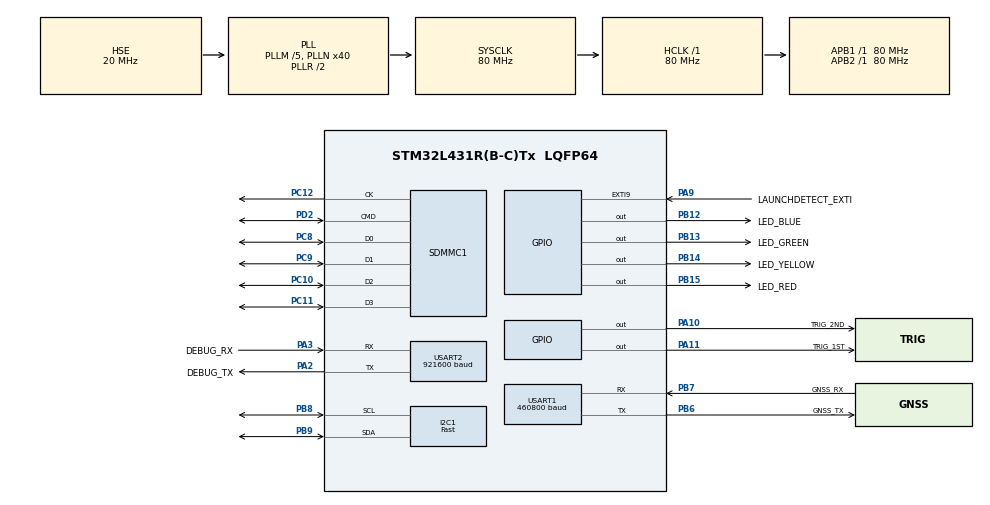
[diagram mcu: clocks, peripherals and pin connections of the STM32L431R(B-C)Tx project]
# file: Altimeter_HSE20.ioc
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Dma.Request0=USART2_TX
Dma.Request1=USART1_RX
Dma.USART1_RX.1.Direction=DMA_PERIPH_TO_MEMORY
Dma.USART1_RX.1.Instance=DMA1_Channel5
Dma.USART1_RX.1.MemDataAlignment=DMA_MDATAALIGN_BYTE
Dma.USART1_RX.1.MemInc=DMA_MINC_ENABLE
Dma.USART1_RX.1.Mode=DMA_CIRCULAR
Dma.USART1_RX.1.PeriphDataAlignment=DMA_PDATAALIGN_BYTE
Dma.USART1_RX.1.PeriphInc=DMA_PINC_DISABLE
Dma.USART1_RX.1.Priority=DMA_PRIORITY_LOW
Dma.USART2_TX.0.Direction=DMA_MEMORY_TO_PERIPH
Dma.USART2_TX.0.Instance=DMA1_Channel7
Dma.USART2_TX.0.MemDataAlignment=DMA_MDATAALIGN_BYTE
Dma.USART2_TX.0.MemInc=DMA_MINC_ENABLE
Dma.USART2_TX.0.Mode=DMA_NORMAL
Dma.USART2_TX.0.PeriphDataAlignment=DMA_PDATAALIGN_BYTE
Dma.USART2_TX.0.PeriphInc=DMA_PINC_DISABLE
Dma.USART2_TX.0.Priority=DMA_PRIORITY_LOW
FATFS.USE_DMA_CODE_SD=0
FATFS._MAX_SS=4096
FATFS._USE_STRFUNC=1
I2C1.I2C_Speed_Mode=I2C_Fast
I2C1.Timing=0x00702991
Mcu.Family=STM32L4
Mcu.Name=STM32L431R(B-C)Tx
Mcu.Package=LQFP64
NVIC.DMA1_Channel5_IRQn=true\:0\:0\:false\:false\:true\:false
NVIC.DMA1_Channel7_IRQn=true\:0\:0\:false\:false\:true\:false
NVIC.EXTI9_5_IRQn=true\:0\:0\:false\:false\:true\:true
NVIC.PriorityGroup=NVIC_PRIORITYGROUP_4
NVIC.TIM1_BRK_TIM15_IRQn=true\:0\:0\:false\:false\:true\:true
NVIC.TIM1_UP_TIM16_IRQn=true\:0\:0\:false\:false\:true\:true
NVIC.TIM6_DAC_IRQn=true\:1\:0\:true\:false\:true\:true
NVIC.USART1_IRQn=true\:0\:0\:false\:false\:true\:true
PA10.GPIO_Label=TRIG_2ND
PA10.Signal=GPIO_Output
PA11.GPIO_Label=TRIG_1ST
PA11.Signal=GPIO_Output
PA2.GPIO_Label=DEBUG_TX
PA2.Mode=Asynchronous
PA2.Signal=USART2_TX
PA3.GPIO_Label=DEBUG_RX
PA3.Mode=Asynchronous
PA3.Signal=USART2_RX
PA9.GPIO_Label=LAUNCHDETECT_EXTI
PA9.Signal=GPXTI9
PB12.GPIO_Label=LED_BLUE
PB12.Signal=GPIO_Output
PB13.GPIO_Label=LED_GREEN
PB13.Signal=GPIO_Output
PB14.GPIO_Label=LED_YELLOW
PB14.Signal=GPIO_Output
PB15.GPIO_Label=LED_RED
PB15.Signal=GPIO_Output
PB6.GPIO_Label=GNSS_TX
PB6.Mode=Asynchronous
PB6.Signal=USART1_TX
PB7.GPIO_Label=GNSS_RX
PB7.Mode=Asynchronous
PB7.Signal=USART1_RX
PB8.Mode=I2C
PB8.Signal=I2C1_SCL
PB9.Mode=I2C
PB9.Signal=I2C1_SDA
PC10.Mode=SD_4_bits_Wide_bus
PC10.Signal=SDMMC1_D2
PC11.Mode=SD_4_bits_Wide_bus
PC11.Signal=SDMMC1_D3
PC12.Mode=SD_4_bits_Wide_bus
PC12.Signal=SDMMC1_CK
PC14-OSC32_IN\ (PC14).Mode=LSE-External-Oscillator
PC14-OSC32_IN\ (PC14).Signal=RCC_OSC32_IN
PC15-OSC32_OUT\ (PC15).Mode=LSE-External-Oscillator
PC15-OSC32_OUT\ (PC15).Signal=RCC_OSC32_OUT
PC8.Mode=SD_4_bits_Wide_bus
PC8.Signal=SDMMC1_D0
PC9.Mode=SD_4_bits_Wide_bus
PC9.Signal=SDMMC1_D1
PD2.Mode=SD_4_bits_Wide_bus
PD2.Signal=SDMMC1_CMD
PH0-OSC_IN\ (PH0).Mode=HSE-External-Oscillator
PH0-OSC_IN\ (PH0).Signal=RCC_OSC_IN
PH1-OSC_OUT\ (PH1).Mode=HSE-External-Oscillator
PH1-OSC_OUT\ (PH1).Signal=RCC_OSC_OUT
ProjectManager.HeapSize=0x2000
ProjectManager.StackSize=0x4000
ProjectManager.TargetToolchain=TrueSTUDIO
RCC.ADCFreq_Value=48000000
RCC.AHBFreq_Value=80000000
RCC.APB1Freq_Value=80000000
RCC.APB1TimFreq_Value=80000000
RCC.APB2Freq_Value=80000000
RCC.APB2TimFreq_Value=80000000
RCC.CortexFreq_Value=80000000
RCC.HCLKFreq_Value=80000000
RCC.HSE_VALUE=20000000
RCC.HSI48_VALUE=48000000
RCC.HSI_VALUE=16000000
RCC.MSI_VALUE=4000000
RCC.PLLM=5
RCC.PLLN=40
RCC.PLLSAI1N=24
RCC.PLLSourceVirtual=RCC_PLLSOURCE_HSE
RCC.RCC_MCO1Source=RCC_MCO1SOURCE_HSE
RCC.SYSCLKFreq_VALUE=80000000
RCC.SYSCLKSource=RCC_SYSCLKSOURCE_PLLCLK
RCC.VCOOutputFreq_Value=160000000
SDMMC1.ClockDiv=2
TIM15.Period=32000
TIM15.Prescaler=39999
TIM16.Period=18000
TIM16.Prescaler=39999
TIM2.Period=4294967295
TIM2.Prescaler=79
TIM6.AutoReloadPreload=TIM_AUTORELOAD_PRELOAD_ENABLE
TIM6.Period=1765
TIM6.Prescaler=19338
USART1.BaudRate=460800
USART1.VirtualMode-Asynchronous=VM_ASYNC
USART1.WordLength=WORDLENGTH_8B
USART2.BaudRate=921600
USART2.VirtualMode-Asynchronous=VM_ASYNC
USART2.WordLength=WORDLENGTH_8B
VP_FATFS_VS_SDIO.Mode=SDIO
VP_TIM15_VS_ClockSourceINT.Mode=Internal
VP_TIM16_VS_ClockSourceINT.Mode=Enable_Timer
VP_TIM2_VS_ClockSourceINT.Mode=Internal
VP_TIM6_VS_ClockSourceINT.Mode=Enable_Timer
board=Altimeter_HSE20

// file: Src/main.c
/**
  ******************************************************************************
  * @file           : main.c
  * @brief          : Main program body
  ******************************************************************************
  * This notice applies to any and all portions of this file
  * that are not between comment pairs USER CODE BEGIN and
  * USER CODE END. Other portions of this file, whether
  * inserted by the user or by software development tools
  * are owned by their respective copyright owners.
  *
  * Copyright (c) 2019 STMicroelectronics International N.V.
  * All rights reserved.
  *
  * Redistribution and use in source and binary forms, with or without
  * modification, are permitted, provided that the following conditions are met:
  *
  * 1. Redistribution of source code must retain the above copyright notice,
  *    this list of conditions and the following disclaimer.
  * 2. Redistributions in binary form must reproduce the above copyright notice,
  *    this list of conditions and the following disclaimer in the documentation
  *    and/or other materials provided with the distribution.
  * 3. Neither the name of STMicroelectronics nor the names of other
  *    contributors to this software may be used to endorse or promote products
  *    derived from this software without specific written permission.
  * 4. This software, including modifications and/or derivative works of this
  *    software, must execute solely and exclusively on microcontroller or
  *    microprocessor devices manufactured by or for STMicroelectronics.
  * 5. Redistribution and use of this software other than as permitted under
  *    this license is void and will automatically terminate your rights under
  *    this license.
  *
  * THIS SOFTWARE IS PROVIDED BY STMICROELECTRONICS AND CONTRIBUTORS "AS IS"
  * AND ANY EXPRESS, IMPLIED OR STATUTORY WARRANTIES, INCLUDING, BUT NOT
  * LIMITED TO, THE IMPLIED WARRANTIES OF MERCHANTABILITY, FITNESS FOR A
  * PARTICULAR PURPOSE AND NON-INFRINGEMENT OF THIRD PARTY INTELLECTUAL PROPERTY
  * RIGHTS ARE DISCLAIMED TO THE FULLEST EXTENT PERMITTED BY LAW. IN NO EVENT
  * SHALL STMICROELECTRONICS OR CONTRIBUTORS BE LIABLE FOR ANY DIRECT, INDIRECT,
  * INCIDENTAL, SPECIAL, EXEMPLARY, OR CONSEQUENTIAL DAMAGES (INCLUDING, BUT NOT
  * LIMITED TO, PROCUREMENT OF SUBSTITUTE GOODS OR SERVICES; LOSS OF USE, DATA,
  * OR PROFITS; OR BUSINESS INTERRUPTION) HOWEVER CAUSED AND ON ANY THEORY OF
  * LIABILITY, WHETHER IN CONTRACT, STRICT LIABILITY, OR TORT (INCLUDING
  * NEGLIGENCE OR OTHERWISE) ARISING IN ANY WAY OUT OF THE USE OF THIS SOFTWARE,
  * EVEN IF ADVISED OF THE POSSIBILITY OF SUCH DAMAGE.
  *
  ******************************************************************************
  */
#include "main.h"
#include "stm32l4xx_hal.h"
#include "fatfs.h"

/* USER CODE BEGIN Includes */
#include "rocket.h"
#include "LPS22HB.h"
#include "uart_rx_dma.h"
#include "../uart_wrapper/uart_wrapper.h"
#include <string.h>
/* USER CODE END Includes */

I2C_HandleTypeDef hi2c1;

SD_HandleTypeDef hsd1;

TIM_HandleTypeDef htim2;
TIM_HandleTypeDef htim6;
TIM_HandleTypeDef htim15;
TIM_HandleTypeDef htim16;

UART_HandleTypeDef huart1;
UART_HandleTypeDef huart2;
DMA_HandleTypeDef hdma_usart1_rx;
DMA_HandleTypeDef hdma_usart2_tx;

/* USER CODE BEGIN PV */
/* Private variables ---------------------------------------------------------*/
FATFS fatfs;
FIL file_Sys;
FIL file_Baro;
//FIL file_GNSS;

char logdir_Sys[20] = "SYSLOG.TXT";
char logdir_Baro[20] = "BAROLOG.CSV";
//char logdir_GNSS[20] = "GNSSLOG.CSV";

LPS22HB_t lps22hb;

uint8_t isLogBufferEmpty = 1;
/* USER CODE END PV */

void SystemClock_Config(void);
static void MX_GPIO_Init(void);
static void MX_DMA_Init(void);
static void MX_I2C1_Init(void);
static void MX_SDMMC1_SD_Init(void);
static void MX_USART1_UART_Init(void);
static void MX_USART2_UART_Init(void);
static void MX_TIM2_Init(void);
static void MX_TIM6_Init(void);
static void MX_TIM16_Init(void);
static void MX_TIM15_Init(void);

/* USER CODE BEGIN PFP */
/* Private function prototypes -----------------------------------------------*/
void System_Init(void);
void System_Config_FileDirectory(void);
int System_Check_BootCount(void);
void Inst_Log_Barometer(Rocket_Info_t* info);
//void Inst_Log_GNSS(void);
void LED_Flash_OnePulse(GPIO_TypeDef* port, uint16_t pin, uint16_t span_ms);

/* USER CODE END PFP */

/* USER CODE BEGIN 0 */

Rocket_Info_t rocket_info;

/*typedef struct {
	uint32_t tim;
	uint32_t press;
	int16_t temp;
} EnvData_Container_t;

typedef struct {
	EnvData_Container_t envdata[32];
} EnvData_DataSet_t;

typedef struct {
	EnvData_DataSet_t packet[4];
	bool isLaunched = false;
	bool isDeployAllowed = false;
	bool isReachedApogee = false;
	bool isDeployTimerElapsed = false;
	bool initiateDeploy = false;
} Rocket_Info_t;

Rocket_Info_t rocket_info;

void Rocket_UpdateStatus_Launched(Rocket_Info_t info);
void Rocket_UpdateStatus_AllowDeploy(Rocket_Info_t info);
void Rocket_UpdateStatus_ReachedApogee(Rocket_Info_t info);
void Rocket_UpdateStatus_DeployTimerElapsed(Rocket_Info_t info);

*/

/* USER CODE END 0 */

int main(void)
{

  /* MCU Configuration----------------------------------------------------------*/

  /* Reset of all peripherals, Initializes the Flash interface and the Systick. */
  HAL_Init();

  /* Configure the system clock */
  SystemClock_Config();

  /* Initialize all configured peripherals */
  MX_GPIO_Init();
  MX_DMA_Init();
  MX_I2C1_Init();
  MX_SDMMC1_SD_Init();
  MX_USART1_UART_Init();
  MX_USART2_UART_Init();
  MX_FATFS_Init();
  MX_TIM2_Init();
  MX_TIM6_Init();
  MX_TIM16_Init();
  MX_TIM15_Init();
  /* USER CODE BEGIN 2 */

  System_Init();

  //char buff[32];

  /* USER CODE END 2 */

  /* Infinite loop */
  while (1)
  {

  /* USER CODE BEGIN 3 */

	  Rocket_Evaluate_AbleToDeploy_1stStage(&rocket_info);
	  if(Rocket_isAbleToDeploy_1stStage(&rocket_info) == ROCKET_ABLETODEPLOY_1STSTAGE) {
		  PIN_H(TRIG_1ST_GPIO_Port, TRIG_1ST_Pin);
		  PIN_H(LED_GREEN_GPIO_Port, LED_GREEN_Pin);

		  Rocket_Evaluate_AbleToDeploy_2ndStage(&rocket_info);
		  if(Rocket_isAbleToDeploy_2ndStage(&rocket_info) == ROCKET_ABLETODEPLOY_2NDSTAGE) {
			  PIN_H(TRIG_2ND_GPIO_Port, TRIG_2ND_Pin);
			  PIN_H(LED_YELLOW_GPIO_Port, LED_YELLOW_Pin);
		  } else {
			  PIN_L(TRIG_2ND_GPIO_Port, TRIG_2ND_Pin);
			  PIN_L(LED_YELLOW_GPIO_Port, LED_YELLOW_Pin);
		  }
	  } else {
		  PIN_L(TRIG_1ST_GPIO_Port, TRIG_1ST_Pin);
		  PIN_L(LED_GREEN_GPIO_Port, LED_GREEN_Pin);
	  }

	  //TODO　whileループ内のログの処理どうしよう
	  //→判定関数内でやればよいのでは
  }
  /* USER CODE END 3 */

}

void SystemClock_Config(void)
{

  RCC_OscInitTypeDef RCC_OscInitStruct;
  RCC_ClkInitTypeDef RCC_ClkInitStruct;
  RCC_PeriphCLKInitTypeDef PeriphClkInit;

    /**Initializes the CPU, AHB and APB busses clocks
    */
  RCC_OscInitStruct.OscillatorType = RCC_OSCILLATORTYPE_HSE;
  RCC_OscInitStruct.HSEState = RCC_HSE_ON;
  RCC_OscInitStruct.PLL.PLLState = RCC_PLL_ON;
  RCC_OscInitStruct.PLL.PLLSource = RCC_PLLSOURCE_HSE;
  RCC_OscInitStruct.PLL.PLLM = 5;
  RCC_OscInitStruct.PLL.PLLN = 40;
  RCC_OscInitStruct.PLL.PLLP = RCC_PLLP_DIV7;
  RCC_OscInitStruct.PLL.PLLQ = RCC_PLLQ_DIV2;
  RCC_OscInitStruct.PLL.PLLR = RCC_PLLR_DIV2;
  if (HAL_RCC_OscConfig(&RCC_OscInitStruct) != HAL_OK)
  {
    _Error_Handler(__FILE__, __LINE__);
  }

    /**Initializes the CPU, AHB and APB busses clocks
    */
  RCC_ClkInitStruct.ClockType = RCC_CLOCKTYPE_HCLK|RCC_CLOCKTYPE_SYSCLK
                              |RCC_CLOCKTYPE_PCLK1|RCC_CLOCKTYPE_PCLK2;
  RCC_ClkInitStruct.SYSCLKSource = RCC_SYSCLKSOURCE_PLLCLK;
  RCC_ClkInitStruct.AHBCLKDivider = RCC_SYSCLK_DIV1;
  RCC_ClkInitStruct.APB1CLKDivider = RCC_HCLK_DIV1;
  RCC_ClkInitStruct.APB2CLKDivider = RCC_HCLK_DIV1;

  if (HAL_RCC_ClockConfig(&RCC_ClkInitStruct, FLASH_LATENCY_4) != HAL_OK)
  {
    _Error_Handler(__FILE__, __LINE__);
  }

  PeriphClkInit.PeriphClockSelection = RCC_PERIPHCLK_USART1|RCC_PERIPHCLK_USART2
                              |RCC_PERIPHCLK_I2C1|RCC_PERIPHCLK_SDMMC1;
  PeriphClkInit.Usart1ClockSelection = RCC_USART1CLKSOURCE_PCLK2;
  PeriphClkInit.Usart2ClockSelection = RCC_USART2CLKSOURCE_PCLK1;
  PeriphClkInit.I2c1ClockSelection = RCC_I2C1CLKSOURCE_PCLK1;
  PeriphClkInit.Sdmmc1ClockSelection = RCC_SDMMC1CLKSOURCE_PLLSAI1;
  PeriphClkInit.PLLSAI1.PLLSAI1Source = RCC_PLLSOURCE_HSE;
  PeriphClkInit.PLLSAI1.PLLSAI1M = 5;
  PeriphClkInit.PLLSAI1.PLLSAI1N = 24;
  PeriphClkInit.PLLSAI1.PLLSAI1P = RCC_PLLP_DIV7;
  PeriphClkInit.PLLSAI1.PLLSAI1Q = RCC_PLLQ_DIV2;
  PeriphClkInit.PLLSAI1.PLLSAI1R = RCC_PLLR_DIV2;
  PeriphClkInit.PLLSAI1.PLLSAI1ClockOut = RCC_PLLSAI1_48M2CLK;
  if (HAL_RCCEx_PeriphCLKConfig(&PeriphClkInit) != HAL_OK)
  {
    _Error_Handler(__FILE__, __LINE__);
  }

    /**Configure the main internal regulator output voltage
    */
  if (HAL_PWREx_ControlVoltageScaling(PWR_REGULATOR_VOLTAGE_SCALE1) != HAL_OK)
  {
    _Error_Handler(__FILE__, __LINE__);
  }

    /**Configure the Systick interrupt time
    */
  HAL_SYSTICK_Config(HAL_RCC_GetHCLKFreq()/1000);

    /**Configure the Systick
    */
  HAL_SYSTICK_CLKSourceConfig(SYSTICK_CLKSOURCE_HCLK);

  /* SysTick_IRQn interrupt configuration */
  HAL_NVIC_SetPriority(SysTick_IRQn, 0, 0);
}

/* I2C1 init function */
static void MX_I2C1_Init(void)
{

  hi2c1.Instance = I2C1;
  hi2c1.Init.Timing = 0x00702991;
  hi2c1.Init.OwnAddress1 = 0;
  hi2c1.Init.AddressingMode = I2C_ADDRESSINGMODE_7BIT;
  hi2c1.Init.DualAddressMode = I2C_DUALADDRESS_DISABLE;
  hi2c1.Init.OwnAddress2 = 0;
  hi2c1.Init.OwnAddress2Masks = I2C_OA2_NOMASK;
  hi2c1.Init.GeneralCallMode = I2C_GENERALCALL_DISABLE;
  hi2c1.Init.NoStretchMode = I2C_NOSTRETCH_DISABLE;
  if (HAL_I2C_Init(&hi2c1) != HAL_OK)
  {
    _Error_Handler(__FILE__, __LINE__);
  }

    /**Configure Analogue filter
    */
  if (HAL_I2CEx_ConfigAnalogFilter(&hi2c1, I2C_ANALOGFILTER_ENABLE) != HAL_OK)
  {
    _Error_Handler(__FILE__, __LINE__);
  }

    /**Configure Digital filter
    */
  if (HAL_I2CEx_ConfigDigitalFilter(&hi2c1, 0) != HAL_OK)
  {
    _Error_Handler(__FILE__, __LINE__);
  }

}

/* SDMMC1 init function */
static void MX_SDMMC1_SD_Init(void)
{

  hsd1.Instance = SDMMC1;
  hsd1.Init.ClockEdge = SDMMC_CLOCK_EDGE_RISING;
  hsd1.Init.ClockBypass = SDMMC_CLOCK_BYPASS_DISABLE;
  hsd1.Init.ClockPowerSave = SDMMC_CLOCK_POWER_SAVE_DISABLE;
  hsd1.Init.BusWide = SDMMC_BUS_WIDE_1B;
  hsd1.Init.HardwareFlowControl = SDMMC_HARDWARE_FLOW_CONTROL_DISABLE;
  hsd1.Init.ClockDiv = 2;

}

/* TIM2 init function */
static void MX_TIM2_Init(void)
{

  TIM_ClockConfigTypeDef sClockSourceConfig;
  TIM_MasterConfigTypeDef sMasterConfig;

  htim2.Instance = TIM2;
  htim2.Init.Prescaler = 79;
  htim2.Init.CounterMode = TIM_COUNTERMODE_UP;
  htim2.Init.Period = 4294967295;
  htim2.Init.ClockDivision = TIM_CLOCKDIVISION_DIV1;
  htim2.Init.AutoReloadPreload = TIM_AUTORELOAD_PRELOAD_DISABLE;
  if (HAL_TIM_Base_Init(&htim2) != HAL_OK)
  {
    _Error_Handler(__FILE__, __LINE__);
  }

  sClockSourceConfig.ClockSource = TIM_CLOCKSOURCE_INTERNAL;
  if (HAL_TIM_ConfigClockSource(&htim2, &sClockSourceConfig) != HAL_OK)
  {
    _Error_Handler(__FILE__, __LINE__);
  }

  sMasterConfig.MasterOutputTrigger = TIM_TRGO_RESET;
  sMasterConfig.MasterSlaveMode = TIM_MASTERSLAVEMODE_DISABLE;
  if (HAL_TIMEx_MasterConfigSynchronization(&htim2, &sMasterConfig) != HAL_OK)
  {
    _Error_Handler(__FILE__, __LINE__);
  }

}

/* TIM6 init function */
static void MX_TIM6_Init(void)
{

  TIM_MasterConfigTypeDef sMasterConfig;

  htim6.Instance = TIM6;
  htim6.Init.Prescaler = 19338;
  htim6.Init.CounterMode = TIM_COUNTERMODE_UP;
  htim6.Init.Period = 1765;
  htim6.Init.AutoReloadPreload = TIM_AUTORELOAD_PRELOAD_ENABLE;
  if (HAL_TIM_Base_Init(&htim6) != HAL_OK)
  {
    _Error_Handler(__FILE__, __LINE__);
  }

  sMasterConfig.MasterOutputTrigger = TIM_TRGO_RESET;
  sMasterConfig.MasterSlaveMode = TIM_MASTERSLAVEMODE_DISABLE;
  if (HAL_TIMEx_MasterConfigSynchronization(&htim6, &sMasterConfig) != HAL_OK)
  {
    _Error_Handler(__FILE__, __LINE__);
  }

}

/* TIM15 init function */
static void MX_TIM15_Init(void)
{

  TIM_ClockConfigTypeDef sClockSourceConfig;
  TIM_MasterConfigTypeDef sMasterConfig;

  htim15.Instance = TIM15;
  htim15.Init.Prescaler = 39999;
  htim15.Init.CounterMode = TIM_COUNTERMODE_UP;
  htim15.Init.Period = 32000;
  htim15.Init.ClockDivision = TIM_CLOCKDIVISION_DIV1;
  htim15.Init.RepetitionCounter = 0;
  htim15.Init.AutoReloadPreload = TIM_AUTORELOAD_PRELOAD_DISABLE;
  if (HAL_TIM_Base_Init(&htim15) != HAL_OK)
  {
    _Error_Handler(__FILE__, __LINE__);
  }

  sClockSourceConfig.ClockSource = TIM_CLOCKSOURCE_INTERNAL;
  if (HAL_TIM_ConfigClockSource(&htim15, &sClockSourceConfig) != HAL_OK)
  {
    _Error_Handler(__FILE__, __LINE__);
  }

  sMasterConfig.MasterOutputTrigger = TIM_TRGO_RESET;
  sMasterConfig.MasterSlaveMode = TIM_MASTERSLAVEMODE_DISABLE;
  if (HAL_TIMEx_MasterConfigSynchronization(&htim15, &sMasterConfig) != HAL_OK)
  {
    _Error_Handler(__FILE__, __LINE__);
  }

}

/* TIM16 init function */
static void MX_TIM16_Init(void)
{

  htim16.Instance = TIM16;
  htim16.Init.Prescaler = 39999;
  htim16.Init.CounterMode = TIM_COUNTERMODE_UP;
  htim16.Init.Period = 18000;
  htim16.Init.ClockDivision = TIM_CLOCKDIVISION_DIV1;
  htim16.Init.RepetitionCounter = 0;
  htim16.Init.AutoReloadPreload = TIM_AUTORELOAD_PRELOAD_DISABLE;
  if (HAL_TIM_Base_Init(&htim16) != HAL_OK)
  {
    _Error_Handler(__FILE__, __LINE__);
  }

}

/* USART1 init function */
static void MX_USART1_UART_Init(void)
{

  huart1.Instance = USART1;
  huart1.Init.BaudRate = 460800;
  huart1.Init.WordLength = UART_WORDLENGTH_8B;
  huart1.Init.StopBits = UART_STOPBITS_1;
  huart1.Init.Parity = UART_PARITY_NONE;
  huart1.Init.Mode = UART_MODE_TX_RX;
  huart1.Init.HwFlowCtl = UART_HWCONTROL_NONE;
  huart1.Init.OverSampling = UART_OVERSAMPLING_16;
  huart1.Init.OneBitSampling = UART_ONE_BIT_SAMPLE_DISABLE;
  huart1.AdvancedInit.AdvFeatureInit = UART_ADVFEATURE_NO_INIT;
  if (HAL_UART_Init(&huart1) != HAL_OK)
  {
    _Error_Handler(__FILE__, __LINE__);
  }

}

/* USART2 init function */
static void MX_USART2_UART_Init(void)
{

  huart2.Instance = USART2;
  huart2.Init.BaudRate = 921600;
  huart2.Init.WordLength = UART_WORDLENGTH_8B;
  huart2.Init.StopBits = UART_STOPBITS_1;
  huart2.Init.Parity = UART_PARITY_NONE;
  huart2.Init.Mode = UART_MODE_TX_RX;
  huart2.Init.HwFlowCtl = UART_HWCONTROL_NONE;
  huart2.Init.OverSampling = UART_OVERSAMPLING_16;
  huart2.Init.OneBitSampling = UART_ONE_BIT_SAMPLE_DISABLE;
  huart2.AdvancedInit.AdvFeatureInit = UART_ADVFEATURE_NO_INIT;
  if (HAL_UART_Init(&huart2) != HAL_OK)
  {
    _Error_Handler(__FILE__, __LINE__);
  }

}

static void MX_DMA_Init(void)
{
  /* DMA controller clock enable */
  __HAL_RCC_DMA1_CLK_ENABLE();

  /* DMA interrupt init */
  /* DMA1_Channel5_IRQn interrupt configuration */
  HAL_NVIC_SetPriority(DMA1_Channel5_IRQn, 0, 0);
  HAL_NVIC_EnableIRQ(DMA1_Channel5_IRQn);
  /* DMA1_Channel7_IRQn interrupt configuration */
  HAL_NVIC_SetPriority(DMA1_Channel7_IRQn, 0, 0);
  HAL_NVIC_EnableIRQ(DMA1_Channel7_IRQn);

}

/** Configure pins as
        * Analog
        * Input
        * Output
        * EVENT_OUT
        * EXTI
*/
static void MX_GPIO_Init(void)
{

  GPIO_InitTypeDef GPIO_InitStruct;

  /* GPIO Ports Clock Enable */
  __HAL_RCC_GPIOC_CLK_ENABLE();
  __HAL_RCC_GPIOH_CLK_ENABLE();
  __HAL_RCC_GPIOA_CLK_ENABLE();
  __HAL_RCC_GPIOB_CLK_ENABLE();
  __HAL_RCC_GPIOD_CLK_ENABLE();

  /*Configure GPIO pin Output Level */
  HAL_GPIO_WritePin(GPIOB, LED_BLUE_Pin|LED_GREEN_Pin|LED_YELLOW_Pin|LED_RED_Pin, GPIO_PIN_RESET);

  /*Configure GPIO pin Output Level */
  HAL_GPIO_WritePin(GPIOA, TRIG_2ND_Pin|TRIG_1ST_Pin, GPIO_PIN_RESET);

  /*Configure GPIO pins : LED_BLUE_Pin LED_GREEN_Pin LED_YELLOW_Pin LED_RED_Pin */
  GPIO_InitStruct.Pin = LED_BLUE_Pin|LED_GREEN_Pin|LED_YELLOW_Pin|LED_RED_Pin;
  GPIO_InitStruct.Mode = GPIO_MODE_OUTPUT_PP;
  GPIO_InitStruct.Pull = GPIO_NOPULL;
  GPIO_InitStruct.Speed = GPIO_SPEED_FREQ_LOW;
  HAL_GPIO_Init(GPIOB, &GPIO_InitStruct);

  /*Configure GPIO pin : LAUNCHDETECT_EXTI_Pin */
  GPIO_InitStruct.Pin = LAUNCHDETECT_EXTI_Pin;
  GPIO_InitStruct.Mode = GPIO_MODE_IT_RISING;
  GPIO_InitStruct.Pull = GPIO_NOPULL;
  HAL_GPIO_Init(LAUNCHDETECT_EXTI_GPIO_Port, &GPIO_InitStruct);

  /*Configure GPIO pins : TRIG_2ND_Pin TRIG_1ST_Pin */
  GPIO_InitStruct.Pin = TRIG_2ND_Pin|TRIG_1ST_Pin;
  GPIO_InitStruct.Mode = GPIO_MODE_OUTPUT_PP;
  GPIO_InitStruct.Pull = GPIO_NOPULL;
  GPIO_InitStruct.Speed = GPIO_SPEED_FREQ_LOW;
  HAL_GPIO_Init(GPIOA, &GPIO_InitStruct);

  /* EXTI interrupt init*/
  HAL_NVIC_SetPriority(EXTI9_5_IRQn, 0, 0);
  HAL_NVIC_EnableIRQ(EXTI9_5_IRQn);

}

/* USER CODE BEGIN 4 */

void System_Init(void) {
	FRESULT fRes;

	//	start timer for time record
	HAL_TIM_Base_Start(&htim2);

	uart_init(&huart2);

	Rocket_Init(&rocket_info);

	//	initialize LPS22HB
	LPS22HB_Set_Handle(&lps22hb, &hi2c1);
	LPS22HB_Set_Address(&lps22hb, LPS22HB_ADDR_L);
	LPS22HB_Init(&lps22hb, LPS22HB_ODR_75HZ);
	LPS22HB_Set_FIFO(&lps22hb, LPS22HB_FIFO_ENABLE, LPS22HB_FIFOMODE_STREAM);

	//	mount sd card
	fRes = f_mount(&fatfs, SDPath, 1);
	if(fRes == FR_OK) {
		//	ok
		LED_Flash_OnePulse(LED_BLUE_GPIO_Port, LED_BLUE_Pin, 500);
		xprintf("[FatFs] mount succees\r\n");
	} else {
		//	fail → reset
		LED_Flash_OnePulse(LED_RED_GPIO_Port, LED_RED_Pin, 500);
		xprintf("[FatFs] mount failure\r\n");
		NVIC_SystemReset();
	}

	//	Configure log file directory
	System_Config_FileDirectory();

	//	open file for systemlog
	fRes = f_open(&file_Sys, logdir_Sys, FA_OPEN_APPEND | FA_WRITE);
	if(fRes == FR_OK) {
		//	ok
		LED_Flash_OnePulse(LED_GREEN_GPIO_Port, LED_GREEN_Pin, 500);
		xprintf("[FatFs] syslog fopen succees\r\n");
	} else {
		//	fail → reset
		LED_Flash_OnePulse(LED_RED_GPIO_Port, LED_RED_Pin, 500);
		xprintf("[FatFs] syslog fopen failure\r\n");
		NVIC_SystemReset();
	}

	//	open file for baro/temp logging
	fRes = f_open(&file_Baro, logdir_Baro, FA_OPEN_APPEND | FA_WRITE);
	if(fRes == FR_OK) {
		//	ok
		LED_Flash_OnePulse(LED_GREEN_GPIO_Port, LED_GREEN_Pin, 500);
		xprintf("[FatFs] baro fopen succees\r\n");
	} else {
		//	fail → reset
		LED_Flash_OnePulse(LED_RED_GPIO_Port, LED_RED_Pin, 500);
		xprintf("[FatFs] baro fopen failure\r\n");
		NVIC_SystemReset();
	}

	/*/	open file for gnss logging
	fRes = f_open(&file_GNSS, logdir_GNSS, FA_OPEN_APPEND | FA_WRITE);
	if(fRes == FR_OK) {
		//	ok
		LED_Flash_OnePulse(LED_GREEN_GPIO_Port, LED_GREEN_Pin, 500);
		xprintf("[FatFs] gnss fopen succees\r\n");
	} else {
		//	fail → reset
		LED_Flash_OnePulse(LED_RED_GPIO_Port, LED_RED_Pin, 500);
		xprintf("[FatFs] gnss fopen failure\r\n");
		NVIC_SystemReset();
	}*/

	/* These uart interrupts halt any ongoing transfer if an error occurs, disable them */
	/* Disable the UART Parity Error Interrupt */
	__HAL_UART_DISABLE_IT(&huart1, UART_IT_PE);
	/* Disable the UART Error Interrupt: (Frame error, noise error, overrun error) */
	__HAL_UART_DISABLE_IT(&huart1, UART_IT_ERR);

	//	uart rx dma config
	msgrx_init(&huart1);

	//	start interrupt timer for reading barometer
	__HAL_TIM_CLEAR_FLAG(&htim6, TIM_FLAG_UPDATE);
	HAL_TIM_Base_Start_IT(&htim6);
	//	for only gnss (not for use now)
	//HAL_TIM_Base_Start_IT(&htim7);

}

void System_Config_FileDirectory(void)
{
	int bootcount;
	char logdir[8];

	bootcount = System_Check_BootCount();
	if ( bootcount < 0 ) {
		xprintf("[LogSys]bootcount check failure!\r\n");

		sprintf(logdir, "LOG");
		xprintf("[LogSys]log directory was set to \"LOG\" \r\n");
	} else {
		xprintf("[LogSys]bootcount is %d\r\n", bootcount);

		sprintf(logdir, "LOG_%03d", bootcount);
		xprintf("[LogSys]log directory was set to \"LOG_%03d\"\r\n", bootcount);
	}

	f_mkdir(logdir);

	sprintf(logdir_Sys, "LOG_%03d/SYSLOG.TXT", bootcount);
	sprintf(logdir_Baro, "LOG_%03d/BAROLOG.CSV", bootcount);
	//sprintf(logdir_GNSS, "LOG_%03d/GNSSLOG.CSV", bootcount);
}

/**
 * 	Check system boot count from config file in sdcard
 */
int System_Check_BootCount(void)
{
    FIL fileRead;
    FIL fileWrite;
    FRESULT res;

    char buff[3] = {};
    int bootcount = 0;

    res = f_open(&fileRead, "CONFIG/BOOTCNT.TXT", FA_READ );
    if ( FR_OK != res ) {

    	//	nothing file
    	res = f_mkdir("CONFIG");

    	if ( FR_OK == res || FR_EXIST == res ) {

        	//	completed make the directory or exist
        	res = f_open(&fileWrite, "CONFIG/BOOTCNT.TXT", FA_CREATE_ALWAYS | FA_WRITE );

        	if ( FR_OK != res ) {

        		//	failed to make file
        		xprintf("filesystem error!\r\n");

            	return -1;
        	} else {

        		//	succeed to make file
        		f_printf(&fileWrite, "%d", bootcount);  //  bootcount = 0
        	}
        }
    } else {

    	//	"BOOTCNT.TXT" file exist
        f_gets((TCHAR *)buff, 4	, &fileRead);
        bootcount = atoi(buff);
        bootcount++;

        f_close(&fileRead);

        res = f_open(&fileWrite, "CONFIG/BOOTCNT.TXT", FA_CREATE_ALWAYS | FA_WRITE );
    }

    f_printf(&fileWrite, "%d", bootcount);
    f_close(&fileWrite);

    return bootcount;
}

void HAL_GPIO_EXTI_Callback(uint16_t GPIO_Pin) {

	//	打ち上げ検知時動作
	if(GPIO_Pin == LAUNCHDETECT_EXTI_Pin) {

		//	立ち上がり一回のみ検知、チャタリングで複数回割り込みするのを防ぐ
		if(Rocket_isLaunched(&rocket_info) == ROCKET_FALSE) {
			//	フラグ更新→打ち上げした
			Rocket_UpdateStatus_Launched(&rocket_info);

			Rocket_EnvData_SetGroundEnvDataSet(&rocket_info, Rocket_EnvData_GetEnvDataSet(&rocket_info, 3));

			//ログ
			char buff[32];
			sprintf(buff, "%lu [flag] Launched\r\n", TIM2->CNT);
			xputs(buff);
			f_puts(buff, &file_Sys);
			isLogBufferEmpty = 0;

			//	開放タイマースタート
			__HAL_TIM_CLEAR_FLAG(&htim15, TIM_FLAG_UPDATE);
			HAL_TIM_Base_Start_IT(&htim15);
			//	開放ロックタイマースタート
			__HAL_TIM_CLEAR_FLAG(&htim16, TIM_FLAG_UPDATE);
			HAL_TIM_Base_Start_IT(&htim16);
			PIN_H(LED_RED_GPIO_Port, LED_RED_Pin);
		}
	}
}

void HAL_TIM_PeriodElapsedCallback(TIM_HandleTypeDef* htim) {
	if(htim->Instance == TIM6) {
		char buff[64];

		Inst_Log_Barometer(&rocket_info);
		//Inst_Log_GNSS();
		//f_sync(&file_GNSS);

		if(Rocket_isReachedApogee(&rocket_info) == ROCKET_FALSE) {
			Rocket_Evaluate_ReachedApogee(&rocket_info);
			if(Rocket_isReachedApogee(&rocket_info) == ROCKET_REACHEDAPOGEE) {
				sprintf(buff, "%lu [flag] ReachedApogee\r\n", TIM2->CNT);
				f_puts(buff, &file_Sys);
				xputs(buff);
				isLogBufferEmpty = 0;
			}
		} else if(Rocket_isReachedThresholdAlt(&rocket_info) == ROCKET_FALSE) {
			Rocket_Evaluate_ReachedThresholdAlt(&rocket_info);
			if(Rocket_isReachedThresholdAlt(&rocket_info) == ROCKET_REACHEDTHRESHOLDALT) {
				sprintf(buff, "%lu [flag] ReachedThresholdAlt", TIM2->CNT);
				f_puts(buff, &file_Sys);
				xputs(buff);
				isLogBufferEmpty = 0;
			}
		}

		sprintf(buff, "%lu [Stat] %2x\r\n", TIM2->CNT, Rocket_GetStatus(&rocket_info));
		f_puts(buff, &file_Sys);
		xputs(buff);
		isLogBufferEmpty = 0;

		//ログSD書き込み
		if(!isLogBufferEmpty) {
			f_sync(&file_Sys);
			isLogBufferEmpty = 1;
		}
	}
	/*
	if(htim->Instance == TIM7) {
		Inst_Log_GNSS();
	}*/

	//開放タイマー
	if(htim->Instance == TIM15) {
		Rocket_UpdateStatus_DeployTimerElapsed(&rocket_info);
		char buff[64];
		sprintf(buff, "%lu [flag] DeployTimerElapsed\r\n", TIM2->CNT);
		xputs(buff);
		f_puts(buff, &file_Sys);
		isLogBufferEmpty = 0;

		PIN_H(LED_GREEN_GPIO_Port, LED_GREEN_Pin);
	}

	//開放ロックタイマー
	if(htim->Instance == TIM16) {
		Rocket_UpdateStatus_AllowDeploy(&rocket_info);
		char buff[64];
		sprintf(buff, "%lu [flag] AllowDeploy\r\n", TIM2->CNT);
		xputs(buff);
		f_puts(buff, &file_Sys);
		isLogBufferEmpty = 0;
		//バッファに書き込んだときにフラグを立てて、立ってるときはタイマー割り込み時にf_syncする処理を書く

		PIN_L(LED_RED_GPIO_Port, LED_RED_Pin);
	}
}

/*void Inst_Log_Barometer(void) {
	int i;
	char buff[64];
	EnvData_Container_t sensdata[32];
	uint32_t time_stamp;

	for(i = 0; i < 32; i++) {

		time_stamp = TIM2->CNT;
		LPS22HB_Update_Data(&lps22hb);	//	FIFO whole read
		sensdata[i].tim = time_stamp - 1000000 * (31 - i) / 75;			//	time record of data
		sensdata[i].press = LPS22HB_Get_PressureRaw(&lps22hb);
		sensdata[i].temp = LPS22HB_Get_TemperatureRaw(&lps22hb);
		sprintf(buff,"%d,%lu,%lu,%d\r\n",
			  i,					//	data number of one cycle
			  sensdata[i].tim,
			  sensdata[i].press,
			  sensdata[i].temp
		);
		f_puts(buff, &file_Baro);
		xputs(buff);
	}
	PIN_H(LED_BLUE_GPIO_Port, LED_BLUE_Pin);
	f_sync(&file_Baro);
	PIN_L(LED_BLUE_GPIO_Port, LED_BLUE_Pin);
}*/

void Inst_Log_Barometer(Rocket_Info_t* info) {
	int i,j;
	char buff[64];
	EnvData_DataSet_t sensdata;
	uint32_t time_stamp;
	uint8_t queue;

	for(i = 0; i < 32; i++) {

		time_stamp = TIM2->CNT;
		LPS22HB_Update_Data(&lps22hb);	//	FIFO whole read
		sensdata.envdata[i].tim = time_stamp - 1000000 * (31 - i) / 75;			//	time record of data
		sensdata.envdata[i].press = LPS22HB_Get_PressureRaw(&lps22hb);
		sensdata.envdata[i].temp = LPS22HB_Get_TemperatureRaw(&lps22hb);
		sprintf(buff,"%d,%lu,%lu,%d\r\n",
			  i,					//	data number of one cycle
			  sensdata.envdata[i].tim,
			  sensdata.envdata[i].press,
			  sensdata.envdata[i].temp
		);
		//f_puts(buff, &file_Baro);
		xputs(buff);
	}

	Rocket_EnvData_ShiftDataSet(info);
	Rocket_EnvData_AddNewDataSet(info, sensdata);
	Rocket_AddQueue(info);

	if(Rocket_isLaunched(info) == ROCKET_LAUNCHED) {
		//	キューの数だけデータセットから過去のセンシングデータを読み出し、SDに書き込む(32個単位で最大128個)
		queue = Rocket_GetQueue(info);
		for(i = 0; i < queue; i++) {
			for(j = 0; j < 32; j++) {
				sprintf(buff,"%d,%lu,%lu,%d\r\n",
						j,					//	data number of one cycle,
						rocket_info.dataset[i].envdata[j].tim,
						rocket_info.dataset[i].envdata[j].press,
						rocket_info.dataset[i].envdata[j].temp
				);
				f_puts(buff, &file_Baro);
			}
		}

		PIN_H(LED_BLUE_GPIO_Port, LED_BLUE_Pin);
		f_sync(&file_Baro);
		PIN_L(LED_BLUE_GPIO_Port, LED_BLUE_Pin);

		Rocket_ResetQueue(info);
	} else {
		//ひたすらなにもせずqueueをためる
	}
	xprintf("Queue: %d\r\n", Rocket_GetQueue(info));
}
/*void Inst_Log_GNSS(void) {
	char c[1];

	/　*
	uint8_t i = 0;
	char sentence[128];
	char output_buf[128];
	* /

	f_printf(&file_GNSS, "%lu\r\n", TIM2->CNT);

	while(!msgrx_circ_buf_is_empty()) {
		c[0] = msgrx_circ_buf_get();
		xputs(c);
		f_putc(c[0], &file_GNSS);

		/　*
		sentence[i] = msgrx_circ_buf_get();
		if(sentence[i] == '\n') {
			time_stamp = TIM2->CNT;
			sprintf(output_buf, "%lu,", time_stamp);
			strncat(output_buf, sentence, strlen(sentence));
			xputs(output_buf);
			f_puts(output_buf, &file_GNSS);
			i = 0;
		} else {
			i++;
		}* /
	}
	PIN_H(LED_GREEN_GPIO_Port, LED_GREEN_Pin);
	f_sync(&file_GNSS);
	PIN_L(LED_GREEN_GPIO_Port, LED_GREEN_Pin);
}*/

void LED_Flash_OnePulse(GPIO_TypeDef* port, uint16_t pin, uint16_t span_ms) {
	HAL_GPIO_WritePin(port, pin, GPIO_PIN_SET);
	HAL_Delay(span_ms);
	HAL_GPIO_WritePin(port, pin, GPIO_PIN_RESET);
}

/* USER CODE END 4 */

void _Error_Handler(char *file, int line)
{
  while(1)
  {
  }
}

/************************ (C) COPYRIGHT STMicroelectronics *****END OF FILE****/
